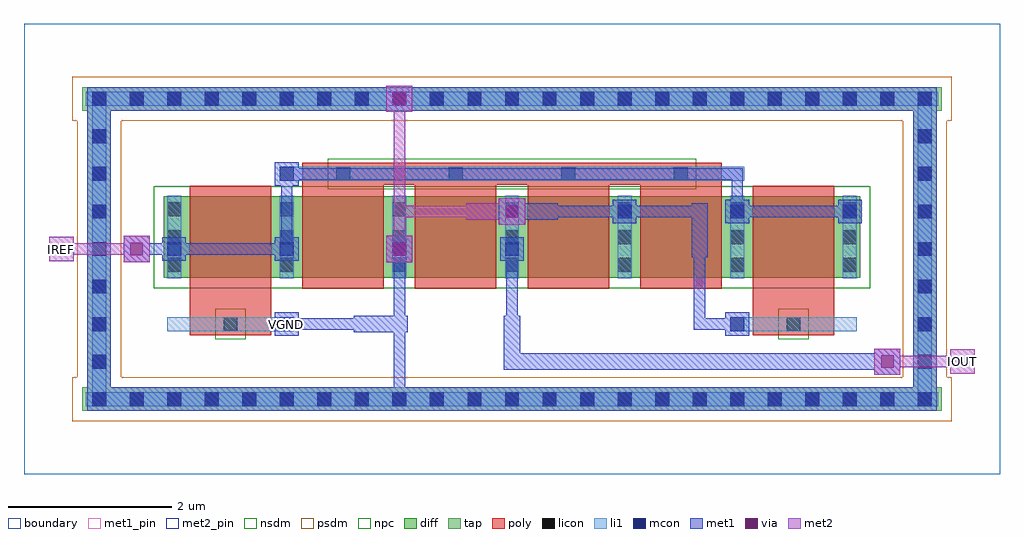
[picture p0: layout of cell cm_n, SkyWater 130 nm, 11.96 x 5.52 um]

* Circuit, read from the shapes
.subckt cm_n IOUT IREF VGND
XM1 IREF VGND IREF VGND sky130_fd_pr__nfet_01v8 w=1 l=1 m=2
XM2 VGND IREF IREF VGND sky130_fd_pr__nfet_01v8 w=1 l=1 m=2
XM3 IOUT IREF VGND VGND sky130_fd_pr__nfet_01v8 w=1 l=1 m=2
.ends

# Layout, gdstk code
import gdstk
lib = gdstk.Library(unit=1e-6, precision=1e-09)
def R(c, l, rs):  # rectangles x0, y0, x1, y1
    for r in rs: c.add(gdstk.rectangle(r[:2], r[2:], *l))
def A(c, l, x, y, w, h, nx, ny, dx, dy):  # array of equal rectangles
    R(c, l, [(x+i*dx, y+j*dy, x+i*dx+w, y+j*dy+h) for i in range(nx) for j in range(ny)])
diff = (65, 20)
tap = (65, 44)
poly = (66, 20)
licon = (66, 44)
li1 = (67, 20)
mcon = (67, 44)
met1_pin = (68, 16)
met1 = (68, 20)
via = (68, 44)
met2_pin = (69, 16)
met2 = (69, 20)
nsdm = (93, 44)
psdm = (94, 20)
npc = (95, 20)
boundary = (235, 4)

cm_n = lib.new_cell('cm_n')
R(cm_n, diff, [(1.715,2.405,10.245,3.405)])
R(cm_n, tap, [(0.715,0.775,11.245,1.065), (0.775,0.775,1.065,4.745), (10.895,0.775,11.185,4.745), (0.715,4.455,11.245,4.745)])
A(cm_n, poly, 3.41, 2.275, 1, 1.405, 4, 1, 1.38, 0)
R(cm_n, poly, [(2.03,1.705,3.03,1.975), (8.93,1.705,9.93,1.975), (2.03,1.84,3.03,3.535), (8.93,1.84,9.93,3.535), (3.41,3.545,8.55,3.815)])
A(cm_n, licon, 0.835, 0.835, 0.17, 0.17, 23, 2, 0.46, 3.68)
A(cm_n, licon, 0.835, 1.295, 0.17, 0.17, 1, 7, 0, 0.46)
A(cm_n, licon, 10.955, 1.295, 0.17, 0.17, 1, 7, 0, 0.46)
A(cm_n, licon, 1.755, 2.48, 0.17, 0.17, 7, 3, 1.38, 0.34)
A(cm_n, licon, 3.825, 3.595, 0.17, 0.17, 4, 1, 1.38, 0)
R(cm_n, licon, [(2.445,1.755,2.615,1.925), (9.345,1.755,9.515,1.925)])
A(cm_n, li1, 1.755, 2.4, 0.17, 1.01, 7, 1, 1.38, 0)
R(cm_n, li1, [(0.755,0.835,11.205,1.005), (0.835,0.835,1.005,4.685), (10.955,0.835,11.125,4.685), (1.755,1.755,3.305,1.925), (8.655,1.755,10.205,1.925), (3.135,3.595,8.825,3.765), (0.755,4.515,11.205,4.685)])
A(cm_n, mcon, 0.835, 0.835, 0.17, 0.17, 23, 2, 0.46, 3.68)
A(cm_n, mcon, 0.835, 1.295, 0.17, 0.17, 1, 7, 0, 0.46)
A(cm_n, mcon, 10.955, 1.295, 0.17, 0.17, 1, 7, 0, 0.46)
A(cm_n, mcon, 1.755, 2.675, 0.17, 0.17, 4, 1, 1.38, 0)
A(cm_n, mcon, 7.275, 3.135, 0.17, 0.17, 3, 1, 1.38, 0)
R(cm_n, mcon, [(3.135,1.755,3.305,1.925), (8.655,1.755,8.825,1.925), (3.135,3.595,3.305,3.765)])
R(cm_n, met1_pin, [(3.075,1.695,3.365,1.985)])
A(cm_n, met1, 1.695, 2.615, 0.29, 0.29, 4, 1, 1.38, 0)
A(cm_n, met1, 7.215, 3.075, 0.29, 0.29, 3, 1, 1.38, 0)
R(cm_n, met1, [(0.775,0.775,11.185,1.065), (0.775,0.775,1.065,4.745), (10.895,0.775,11.185,4.745), (4.53,0.85,4.67,0.99), (4.53,0.85,4.67,2.83), (10.42,1.22,10.74,1.54), (5.88,1.28,6.08,1.94), (5.88,1.28,10.68,1.48), (3.075,1.695,3.365,1.985), (8.595,1.695,8.885,1.985), (4.04,1.74,4.7,1.94), (3.15,1.77,4.21,1.91), (5.91,1.77,6.05,2.83), (8.21,1.77,8.35,2.83), (8.21,1.77,8.81,1.91), (1.22,2.6,1.54,2.92), (4.44,2.6,4.76,2.92), (8.18,2.66,8.38,3.32), (1.31,2.69,1.91,2.83), (1.77,2.69,3.29,2.83), (3.15,2.69,3.29,3.75), (5.82,3.06,6.14,3.38), (5.88,3.12,6.54,3.32), (6.37,3.15,7.43,3.29), (7.29,3.15,8.35,3.29), (8.67,3.15,10.19,3.29), (8.67,3.15,8.81,3.75), (3.075,3.535,3.365,3.825), (3.15,3.61,8.81,3.75), (4.44,4.44,4.76,4.76), (0.775,4.455,11.185,4.745), (4.53,4.53,4.67,4.67)])
R(cm_n, via, [(10.505,1.305,10.655,1.455), (1.305,2.685,1.455,2.835), (4.525,2.685,4.675,2.835), (5.905,3.145,6.055,3.295), (4.525,4.525,4.675,4.675)])
R(cm_n, met2_pin, [(11.35,1.23,11.65,1.53), (0.31,2.61,0.61,2.91)])
R(cm_n, met2, [(10.42,1.22,10.74,1.54), (11.35,1.23,11.65,1.53), (10.51,1.31,11.57,1.45), (11.43,1.31,11.57,1.45), (1.22,2.6,1.54,2.92), (4.44,2.6,4.76,2.92), (0.31,2.61,0.61,2.91), (0.39,2.69,0.53,2.83), (0.39,2.69,1.45,2.83), (4.53,2.69,4.67,4.67), (5.82,3.06,6.14,3.38), (5.42,3.12,6.08,3.32), (4.53,3.15,5.59,3.29), (4.44,4.44,4.76,4.76)])
R(cm_n, nsdm, [(1.59,2.28,10.37,3.53)])
R(cm_n, psdm, [(0.59,0.65,11.37,1.19), (0.65,1.19,1.19,4.33), (10.77,1.19,11.31,4.33), (0.59,4.33,11.37,4.87)])
R(cm_n, npc, [(2.345,1.655,2.715,2.025), (9.245,1.655,9.615,2.025), (3.725,3.495,8.235,3.865)])
R(cm_n, boundary, [(0,0,11.96,5.52)])
cm_n.add(gdstk.Label('VGND', (3.22,1.84), layer=68, texttype=5))
cm_n.add(gdstk.Label('IREF', (0.46,2.76), layer=69, texttype=5))
cm_n.add(gdstk.Label('IOUT', (11.5,1.38), layer=69, texttype=5))
cm_n.add(gdstk.Label('VGND', (3.22,1.84), layer=68, texttype=16))
cm_n.add(gdstk.Label('IREF', (0.46,2.76), layer=69, texttype=16))
cm_n.add(gdstk.Label('IOUT', (11.5,1.38), layer=69, texttype=16))

lib.write_gds('cm_n.gds')
